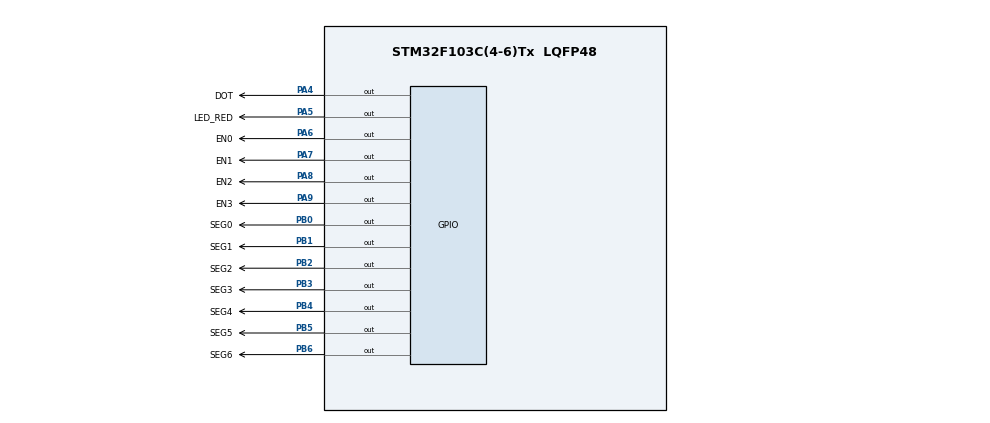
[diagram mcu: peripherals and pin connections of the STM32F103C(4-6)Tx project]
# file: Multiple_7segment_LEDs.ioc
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Mcu.Family=STM32F1
Mcu.Name=STM32F103C(4-6)Tx
Mcu.Package=LQFP48
NVIC.PriorityGroup=NVIC_PRIORITYGROUP_4
NVIC.TIM2_IRQn=true\:0\:0\:false\:false\:true\:true\:true
PA4.GPIO_Label=DOT
PA4.Signal=GPIO_Output
PA5.GPIO_Label=LED_RED
PA5.Signal=GPIO_Output
PA6.GPIO_Label=EN0
PA6.Signal=GPIO_Output
PA7.GPIO_Label=EN1
PA7.Signal=GPIO_Output
PA8.GPIO_Label=EN2
PA8.Signal=GPIO_Output
PA9.GPIO_Label=EN3
PA9.Signal=GPIO_Output
PB0.GPIO_Label=SEG0
PB0.Signal=GPIO_Output
PB1.GPIO_Label=SEG1
PB1.Signal=GPIO_Output
PB2.GPIO_Label=SEG2
PB2.Signal=GPIO_Output
PB3.GPIO_Label=SEG3
PB3.Signal=GPIO_Output
PB4.GPIO_Label=SEG4
PB4.Signal=GPIO_Output
PB5.GPIO_Label=SEG5
PB5.Signal=GPIO_Output
PB6.GPIO_Label=SEG6
PB6.Signal=GPIO_Output
ProjectManager.HeapSize=0x200
ProjectManager.StackSize=0x400
ProjectManager.TargetToolchain=STM32CubeIDE
RCC.APB1Freq_Value=8000000
RCC.APB2Freq_Value=8000000
TIM2.Period=9
TIM2.Prescaler=7999
VP_SYS_VS_ND.Mode=No_Debug
VP_TIM2_VS_ClockSourceINT.Mode=Internal
board=custom

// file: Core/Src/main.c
/* USER CODE BEGIN Header */
/**
  ******************************************************************************
  * @file           : main.c
  * @brief          : Main program body
  ******************************************************************************
  * @attention
  *
  * <h2><center>&copy; Copyright (c) 2025 STMicroelectronics.
  * All rights reserved.</center></h2>
  *
  * This software component is licensed by ST under BSD 3-Clause license,
  * the "License"; You may not use this file except in compliance with the
  * License. You may obtain a copy of the License at:
  *                        opensource.org/licenses/BSD-3-Clause
  *
  ******************************************************************************
  */
/* USER CODE END Header */
#include "main.h"

/* USER CODE BEGIN Includes */
#include "SoftwareTimer.h"
/* USER CODE END Includes */

TIM_HandleTypeDef htim2;

void SystemClock_Config(void);
static void MX_GPIO_Init(void);
static void MX_TIM2_Init(void);

/* USER CODE BEGIN 0 */
void display7SEG(int num)
{
	switch (num)
	{
		case 0:
			  HAL_GPIO_WritePin(SEG0_GPIO_Port, SEG0_Pin, RESET);
			  HAL_GPIO_WritePin(SEG1_GPIO_Port, SEG1_Pin, RESET);
			  HAL_GPIO_WritePin(SEG2_GPIO_Port, SEG2_Pin, RESET);
			  HAL_GPIO_WritePin(SEG3_GPIO_Port, SEG3_Pin, RESET);
			  HAL_GPIO_WritePin(SEG4_GPIO_Port, SEG4_Pin, RESET);
			  HAL_GPIO_WritePin(SEG5_GPIO_Port, SEG5_Pin, RESET);
			  HAL_GPIO_WritePin(SEG6_GPIO_Port, SEG6_Pin, SET);
			  break;
		case 1:
			  HAL_GPIO_WritePin(SEG0_GPIO_Port, SEG0_Pin, SET);
			  HAL_GPIO_WritePin(SEG1_GPIO_Port, SEG1_Pin, RESET);
			  HAL_GPIO_WritePin(SEG2_GPIO_Port, SEG2_Pin, RESET);
			  HAL_GPIO_WritePin(SEG3_GPIO_Port, SEG3_Pin, SET);
			  HAL_GPIO_WritePin(SEG4_GPIO_Port, SEG4_Pin, SET);
			  HAL_GPIO_WritePin(SEG5_GPIO_Port, SEG5_Pin, SET);
			  HAL_GPIO_WritePin(SEG6_GPIO_Port, SEG6_Pin, SET);
			  break;
		case 2:
			  HAL_GPIO_WritePin(SEG0_GPIO_Port, SEG0_Pin, RESET);
			  HAL_GPIO_WritePin(SEG1_GPIO_Port, SEG1_Pin, RESET);
			  HAL_GPIO_WritePin(SEG2_GPIO_Port, SEG2_Pin, SET);
			  HAL_GPIO_WritePin(SEG3_GPIO_Port, SEG3_Pin, RESET);
			  HAL_GPIO_WritePin(SEG4_GPIO_Port, SEG4_Pin, RESET);
			  HAL_GPIO_WritePin(SEG5_GPIO_Port, SEG5_Pin, SET);
			  HAL_GPIO_WritePin(SEG6_GPIO_Port, SEG6_Pin, RESET);
			  break;
		case 3:
			  HAL_GPIO_WritePin(SEG0_GPIO_Port, SEG0_Pin, RESET);
			  HAL_GPIO_WritePin(SEG1_GPIO_Port, SEG1_Pin, RESET);
			  HAL_GPIO_WritePin(SEG2_GPIO_Port, SEG2_Pin, RESET);
			  HAL_GPIO_WritePin(SEG3_GPIO_Port, SEG3_Pin, RESET);
			  HAL_GPIO_WritePin(SEG4_GPIO_Port, SEG4_Pin, SET);
			  HAL_GPIO_WritePin(SEG5_GPIO_Port, SEG5_Pin, SET);
			  HAL_GPIO_WritePin(SEG6_GPIO_Port, SEG6_Pin, RESET);
			  break;
		case 4:
			  HAL_GPIO_WritePin(SEG0_GPIO_Port, SEG0_Pin, SET);
			  HAL_GPIO_WritePin(SEG1_GPIO_Port, SEG1_Pin, RESET);
			  HAL_GPIO_WritePin(SEG2_GPIO_Port, SEG2_Pin, RESET);
			  HAL_GPIO_WritePin(SEG3_GPIO_Port, SEG3_Pin, SET);
			  HAL_GPIO_WritePin(SEG4_GPIO_Port, SEG4_Pin, SET);
			  HAL_GPIO_WritePin(SEG5_GPIO_Port, SEG5_Pin, RESET);
			  HAL_GPIO_WritePin(SEG6_GPIO_Port, SEG6_Pin, RESET);
			  break;
		case 5:
			  HAL_GPIO_WritePin(SEG0_GPIO_Port, SEG0_Pin, RESET);
			  HAL_GPIO_WritePin(SEG1_GPIO_Port, SEG1_Pin, SET);
			  HAL_GPIO_WritePin(SEG2_GPIO_Port, SEG2_Pin, RESET);
			  HAL_GPIO_WritePin(SEG3_GPIO_Port, SEG3_Pin, RESET);
			  HAL_GPIO_WritePin(SEG4_GPIO_Port, SEG4_Pin, SET);
			  HAL_GPIO_WritePin(SEG5_GPIO_Port, SEG5_Pin, RESET);
			  HAL_GPIO_WritePin(SEG6_GPIO_Port, SEG6_Pin, RESET);
			  break;
		case 6:
			  HAL_GPIO_WritePin(SEG0_GPIO_Port, SEG0_Pin, RESET);
			  HAL_GPIO_WritePin(SEG1_GPIO_Port, SEG1_Pin, SET);
			  HAL_GPIO_WritePin(SEG2_GPIO_Port, SEG2_Pin, RESET);
			  HAL_GPIO_WritePin(SEG3_GPIO_Port, SEG3_Pin, RESET);
			  HAL_GPIO_WritePin(SEG4_GPIO_Port, SEG4_Pin, RESET);
			  HAL_GPIO_WritePin(SEG5_GPIO_Port, SEG5_Pin, RESET);
			  HAL_GPIO_WritePin(SEG6_GPIO_Port, SEG6_Pin, RESET);
			  break;
		case 7:
			  HAL_GPIO_WritePin(SEG0_GPIO_Port, SEG0_Pin, RESET);
			  HAL_GPIO_WritePin(SEG1_GPIO_Port, SEG1_Pin, RESET);
			  HAL_GPIO_WritePin(SEG2_GPIO_Port, SEG2_Pin, RESET);
			  HAL_GPIO_WritePin(SEG3_GPIO_Port, SEG3_Pin, SET);
			  HAL_GPIO_WritePin(SEG4_GPIO_Port, SEG4_Pin, SET);
			  HAL_GPIO_WritePin(SEG5_GPIO_Port, SEG5_Pin, SET);
			  HAL_GPIO_WritePin(SEG6_GPIO_Port, SEG6_Pin, SET);
			  break;
		case 8:
			  HAL_GPIO_WritePin(SEG0_GPIO_Port, SEG0_Pin, RESET);
			  HAL_GPIO_WritePin(SEG1_GPIO_Port, SEG1_Pin, RESET);
			  HAL_GPIO_WritePin(SEG2_GPIO_Port, SEG2_Pin, RESET);
			  HAL_GPIO_WritePin(SEG3_GPIO_Port, SEG3_Pin, RESET);
			  HAL_GPIO_WritePin(SEG4_GPIO_Port, SEG4_Pin, RESET);
			  HAL_GPIO_WritePin(SEG5_GPIO_Port, SEG5_Pin, RESET);
			  HAL_GPIO_WritePin(SEG6_GPIO_Port, SEG6_Pin, RESET);
			  break;
		case 9:
			  HAL_GPIO_WritePin(SEG0_GPIO_Port, SEG0_Pin, RESET);
			  HAL_GPIO_WritePin(SEG1_GPIO_Port, SEG1_Pin, RESET);
			  HAL_GPIO_WritePin(SEG2_GPIO_Port, SEG2_Pin, RESET);
			  HAL_GPIO_WritePin(SEG3_GPIO_Port, SEG3_Pin, RESET);
			  HAL_GPIO_WritePin(SEG4_GPIO_Port, SEG4_Pin, SET);
			  HAL_GPIO_WritePin(SEG5_GPIO_Port, SEG5_Pin, RESET);
			  HAL_GPIO_WritePin(SEG6_GPIO_Port, SEG6_Pin, RESET);
			  break;
		default:
				break;
	}

}

const int MAX_LED = 4;
int index_led = 0;
int led_buffer[4] = {1, 2, 3, 4};
void update7SEG(int index)
{
	switch (index)
	{
	case 0:
		//Display the first 7SEG with led_buffer[0]
		HAL_GPIO_WritePin(EN0_GPIO_Port, EN0_Pin, RESET);
		HAL_GPIO_WritePin(EN1_GPIO_Port, EN1_Pin, SET);
		HAL_GPIO_WritePin(EN2_GPIO_Port, EN2_Pin, SET);
		HAL_GPIO_WritePin(EN3_GPIO_Port, EN3_Pin, SET);
		display7SEG(led_buffer[0]);
		break;
	case 1:
		//Display the first 7SEG with led_buffer[1]
		HAL_GPIO_WritePin(EN0_GPIO_Port, EN0_Pin, SET);
		HAL_GPIO_WritePin(EN1_GPIO_Port, EN1_Pin, RESET);
		HAL_GPIO_WritePin(EN2_GPIO_Port, EN2_Pin, SET);
		HAL_GPIO_WritePin(EN3_GPIO_Port, EN3_Pin, SET);
		display7SEG(led_buffer[1]);
		break;
	case 2:
		//Display the first 7SEG with led_buffer[2]
		HAL_GPIO_WritePin(EN0_GPIO_Port, EN0_Pin, SET);
		HAL_GPIO_WritePin(EN1_GPIO_Port, EN1_Pin, SET);
		HAL_GPIO_WritePin(EN2_GPIO_Port, EN2_Pin, RESET);
		HAL_GPIO_WritePin(EN3_GPIO_Port, EN3_Pin, SET);
		display7SEG(led_buffer[2]);
		break;
	case 3:
		//Display the first 7SEG with led_buffer[3]
		HAL_GPIO_WritePin(EN0_GPIO_Port, EN0_Pin, SET);
		HAL_GPIO_WritePin(EN1_GPIO_Port, EN1_Pin, SET);
		HAL_GPIO_WritePin(EN2_GPIO_Port, EN2_Pin, SET);
		HAL_GPIO_WritePin(EN3_GPIO_Port, EN3_Pin, RESET);
		display7SEG(led_buffer[3]);
		break;
	default:
		break;
	}
}

int hour = 15, minute = 8, second = 50;
void updateClockBuffer()
{
	led_buffer[0] = hour/10;
	led_buffer[1] = hour%10;
	led_buffer[2] = minute/10;
	led_buffer[3] = minute%10;
}
/* USER CODE END 0 */

int main(void)
{

  /* MCU Configuration--------------------------------------------------------*/

  /* Reset of all peripherals, Initializes the Flash interface and the Systick. */
  HAL_Init();

  /* Configure the system clock */
  SystemClock_Config();

  /* Initialize all configured peripherals */
  MX_GPIO_Init();
  MX_TIM2_Init();
  /* USER CODE BEGIN 2 */
  HAL_TIM_Base_Start_IT(&htim2);
  /* USER CODE END 2 */

  /* Infinite loop */
  /* USER CODE BEGIN WHILE */
  setTimer(0, 10);
  setTimer(1, 50);
  while (1)
  {
	  if (timer_flag[0] == 1)
	  {
		  HAL_GPIO_TogglePin(LED_RED_GPIO_Port, LED_RED_Pin);
		  setTimer(0, 2000);
	  }

	  if (timer_flag[1] == 1)
	  {
		  HAL_GPIO_TogglePin(DOT_GPIO_Port, DOT_Pin);
		  second++;
		  if (second >= 60)
		  {
			  second = 0;
			  minute++;
		  }
		  if(minute >= 60)
		  {
			  minute = 0;
			  hour++;
		  }
		  if(hour >=24)
		  {
			  hour = 0;
		  }
		  updateClockBuffer();
		  setTimer(1, 1000);
	  }
    /* USER CODE END WHILE */

  }
}

void SystemClock_Config(void)
{
  RCC_OscInitTypeDef RCC_OscInitStruct = {0};
  RCC_ClkInitTypeDef RCC_ClkInitStruct = {0};

  /** Initializes the RCC Oscillators according to the specified parameters
  * in the RCC_OscInitTypeDef structure.
  */
  RCC_OscInitStruct.OscillatorType = RCC_OSCILLATORTYPE_HSI;
  RCC_OscInitStruct.HSIState = RCC_HSI_ON;
  RCC_OscInitStruct.HSICalibrationValue = RCC_HSICALIBRATION_DEFAULT;
  RCC_OscInitStruct.PLL.PLLState = RCC_PLL_NONE;
  if (HAL_RCC_OscConfig(&RCC_OscInitStruct) != HAL_OK)
  {
    Error_Handler();
  }
  /** Initializes the CPU, AHB and APB buses clocks
  */
  RCC_ClkInitStruct.ClockType = RCC_CLOCKTYPE_HCLK|RCC_CLOCKTYPE_SYSCLK
                              |RCC_CLOCKTYPE_PCLK1|RCC_CLOCKTYPE_PCLK2;
  RCC_ClkInitStruct.SYSCLKSource = RCC_SYSCLKSOURCE_HSI;
  RCC_ClkInitStruct.AHBCLKDivider = RCC_SYSCLK_DIV1;
  RCC_ClkInitStruct.APB1CLKDivider = RCC_HCLK_DIV1;
  RCC_ClkInitStruct.APB2CLKDivider = RCC_HCLK_DIV1;

  if (HAL_RCC_ClockConfig(&RCC_ClkInitStruct, FLASH_LATENCY_0) != HAL_OK)
  {
    Error_Handler();
  }
}

static void MX_TIM2_Init(void)
{

  TIM_ClockConfigTypeDef sClockSourceConfig = {0};
  TIM_MasterConfigTypeDef sMasterConfig = {0};

  htim2.Instance = TIM2;
  htim2.Init.Prescaler = 7999;
  htim2.Init.CounterMode = TIM_COUNTERMODE_UP;
  htim2.Init.Period = 9;
  htim2.Init.ClockDivision = TIM_CLOCKDIVISION_DIV1;
  htim2.Init.AutoReloadPreload = TIM_AUTORELOAD_PRELOAD_DISABLE;
  if (HAL_TIM_Base_Init(&htim2) != HAL_OK)
  {
    Error_Handler();
  }
  sClockSourceConfig.ClockSource = TIM_CLOCKSOURCE_INTERNAL;
  if (HAL_TIM_ConfigClockSource(&htim2, &sClockSourceConfig) != HAL_OK)
  {
    Error_Handler();
  }
  sMasterConfig.MasterOutputTrigger = TIM_TRGO_RESET;
  sMasterConfig.MasterSlaveMode = TIM_MASTERSLAVEMODE_DISABLE;
  if (HAL_TIMEx_MasterConfigSynchronization(&htim2, &sMasterConfig) != HAL_OK)
  {
    Error_Handler();
  }

}

static void MX_GPIO_Init(void)
{
  GPIO_InitTypeDef GPIO_InitStruct = {0};

  /* GPIO Ports Clock Enable */
  __HAL_RCC_GPIOA_CLK_ENABLE();
  __HAL_RCC_GPIOB_CLK_ENABLE();

  /*Configure GPIO pin Output Level */
  HAL_GPIO_WritePin(GPIOA, DOT_Pin|LED_RED_Pin|EN0_Pin|EN1_Pin
                          |EN2_Pin|EN3_Pin, GPIO_PIN_RESET);

  /*Configure GPIO pin Output Level */
  HAL_GPIO_WritePin(GPIOB, SEG0_Pin|SEG1_Pin|SEG2_Pin|SEG3_Pin
                          |SEG4_Pin|SEG5_Pin|SEG6_Pin, GPIO_PIN_RESET);

  /*Configure GPIO pins : DOT_Pin LED_RED_Pin EN0_Pin EN1_Pin
                           EN2_Pin EN3_Pin */
  GPIO_InitStruct.Pin = DOT_Pin|LED_RED_Pin|EN0_Pin|EN1_Pin
                          |EN2_Pin|EN3_Pin;
  GPIO_InitStruct.Mode = GPIO_MODE_OUTPUT_PP;
  GPIO_InitStruct.Pull = GPIO_NOPULL;
  GPIO_InitStruct.Speed = GPIO_SPEED_FREQ_LOW;
  HAL_GPIO_Init(GPIOA, &GPIO_InitStruct);

  /*Configure GPIO pins : SEG0_Pin SEG1_Pin SEG2_Pin SEG3_Pin
                           SEG4_Pin SEG5_Pin SEG6_Pin */
  GPIO_InitStruct.Pin = SEG0_Pin|SEG1_Pin|SEG2_Pin|SEG3_Pin
                          |SEG4_Pin|SEG5_Pin|SEG6_Pin;
  GPIO_InitStruct.Mode = GPIO_MODE_OUTPUT_PP;
  GPIO_InitStruct.Pull = GPIO_NOPULL;
  GPIO_InitStruct.Speed = GPIO_SPEED_FREQ_LOW;
  HAL_GPIO_Init(GPIOB, &GPIO_InitStruct);

}

/* USER CODE BEGIN 4 */
int led_counter = 25;
// int dot_counter = 125;
void HAL_TIM_PeriodElapsedCallback(TIM_HandleTypeDef *htim)
{
	timerRun();
	if (led_counter > 0)
	{
		led_counter--;
		if (led_counter <= 0)
		{
			led_counter = 25;
			update7SEG(index_led++);
			if (index_led >= MAX_LED) index_led = 0;
		}

	}

	/*if (dot_counter > 0)
	{
		dot_counter--;
		if (dot_counter <= 0)
		{
			dot_counter = 100;
			// HAL_GPIO_TogglePin(LED_RED_GPIO_Port, LED_RED_Pin);
			HAL_GPIO_TogglePin(DOT_GPIO_Port, DOT_Pin);
		}
	}*/
}
/* USER CODE END 4 */

void Error_Handler(void)
{
  __disable_irq();
  while (1)
  {
  }
}

/************************ (C) COPYRIGHT STMicroelectronics *****END OF FILE****/
